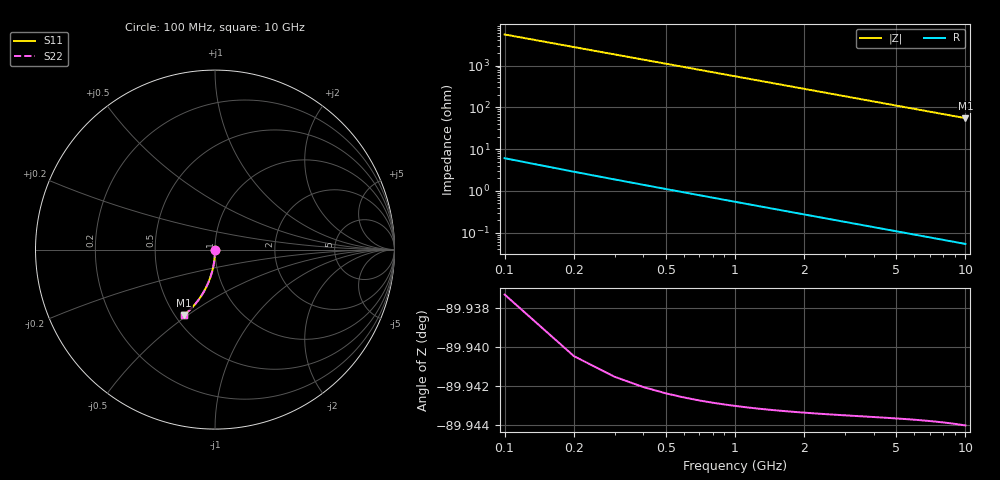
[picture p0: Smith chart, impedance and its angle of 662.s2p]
# Hz S RI R 50.00
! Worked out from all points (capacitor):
!   100 points, 100 MHz to 10 GHz, reference 50 ohm
!   read as one part in shunt: C = 288 fF near 100 MHz
!   lowest |Z| = 55.1 ohm at 10 GHz (marker M1)
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1e8  -6.6e-07 -0.0044  0.9999 -0.00464  0.9999 -0.00464  -6.6e-07 -0.0044
2e8  -6.63e-05 -0.00881  0.9999 -0.00929  0.9999 -0.00929  -6.63e-05 -0.00881
3e8  -0.000173 -0.0132  0.9998 -0.0139  0.9998 -0.0139  -0.000173 -0.0132
4e8  -0.00032 -0.0176  0.9996 -0.0186  0.9996 -0.0186  -0.00032 -0.0176
5e8  -0.000509 -0.022  0.9994 -0.0232  0.9994 -0.0232  -0.000509 -0.022
6e8  -0.000738 -0.0264  0.9992 -0.0278  0.9992 -0.0278  -0.000738 -0.0264
7e8  -0.00101 -0.0308  0.9989 -0.0325  0.9989 -0.0325  -0.00101 -0.0308
8e8  -0.00132 -0.0352  0.9986 -0.0371  0.9986 -0.0371  -0.00132 -0.0352
9e8  -0.00167 -0.0396  0.9983 -0.0417  0.9983 -0.0417  -0.00167 -0.0396
1.1e9  -0.00249 -0.0484  0.9975 -0.051  0.9975 -0.051  -0.00249 -0.0484
1.4e9  -0.00404 -0.0615  0.9959 -0.0648  0.9959 -0.0648  -0.00404 -0.0615
1.8e9  -0.00665 -0.0788  0.9933 -0.0831  0.9933 -0.0831  -0.00665 -0.0788
2.1e9  -0.00903 -0.0918  0.9909 -0.0968  0.9909 -0.0968  -0.00903 -0.0918
2.5e9  -0.0127 -0.1088  0.9872 -0.1148  0.9872 -0.1148  -0.0127 -0.1088
2.9e9  -0.0171 -0.1257  0.9828 -0.1327  0.9828 -0.1327  -0.0171 -0.1257
3.4e9  -0.0233 -0.1465  0.9766 -0.1547  0.9766 -0.1547  -0.0233 -0.1465
4.2e9  -0.0352 -0.1788  0.9647 -0.189  0.9647 -0.189  -0.0352 -0.1788
5.1e9  -0.0511 -0.2137  0.9488 -0.226  0.9488 -0.226  -0.0511 -0.2137
5.9e9  -0.0673 -0.243  0.9326 -0.2573  0.9326 -0.2573  -0.0673 -0.243
6.7e9  -0.0852 -0.2707  0.9146 -0.2869  0.9146 -0.2869  -0.0852 -0.2707
8.4e9  -0.1279 -0.3234  0.8718 -0.3439  0.8718 -0.3439  -0.1279 -0.3234
1e10  -0.1724 -0.3651  0.8273 -0.3896  0.8273 -0.3896  -0.1724 -0.3651
